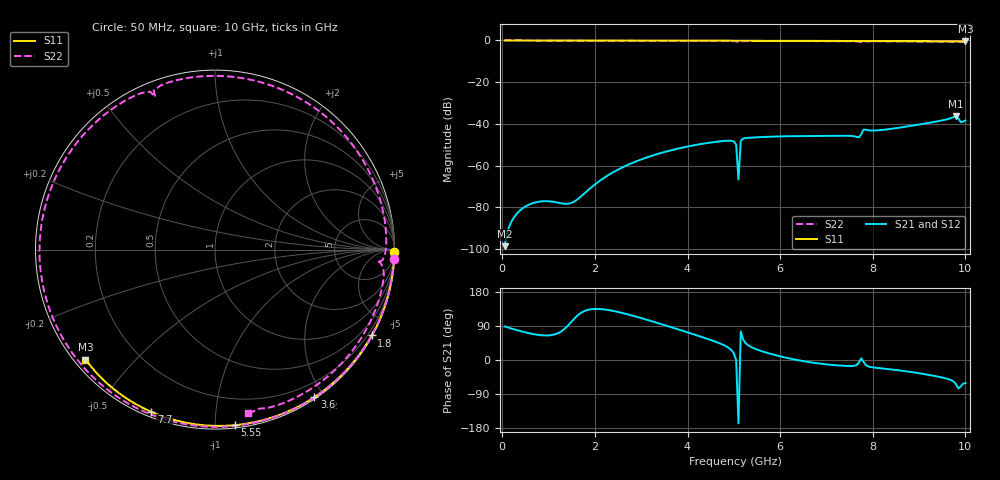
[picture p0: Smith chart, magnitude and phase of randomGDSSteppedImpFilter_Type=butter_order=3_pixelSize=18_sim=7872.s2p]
! freq	dB(S11)	phase(S11)	dB(S12)	phase(S12)
!  dB(S21)	phase(S21)	dB(S22)	phase(S22)
!S-par simulation data
#  GHz  S  DB  R 50
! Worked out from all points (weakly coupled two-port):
!   200 points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, 50 MHz to 10 GHz, reference 50 ohm
!   highest |S21| = -36.32 dB at 9.8 GHz (marker M1); lowest = -98.6 dB at 50 MHz (marker M2)
!   lowest |S11| = -0.5 dB at 10 GHz (marker M3), VSWR 37.15, Z = 1.53 - j18.3 ohm
!   |S11| at or under -10 dB: nowhere
!   |S22| runs from -0.9 to 0.0 dB; largest |S21 - S12| = 0
!   S11 on the Smith chart (normalised r, x): 50 MHz: open; 1.8 GHz: 0.03, -3.91; 3.6 GHz: 0.02, -1.88; 5.55 GHz: 0.02, -1.12; 7.7 GHz: 0.02, -0.68; 10 GHz: 0.03, -0.37
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0.05  -0.00 -0.8  -98.56 88.5  -98.56 88.5  -0.00 -2.9
0.95  -0.02 -15.3  -77.01 64.7  -77.01 64.7  -0.07 -53.1
1.45  -0.03 -23.2  -78.12 95.2  -78.12 95.2  -0.10 -79.6
1.75  -0.04 -27.9  -73.73 127.8  -73.73 127.8  -0.11 -94.8
1.8  -0.04 -28.7  -72.74 130.4  -72.74 130.4  -0.11 -97.3
2.65  -0.05 -41.8  -60.23 122.3  -60.23 122.3  -0.15 -138.0
3.4  -0.07 -53.1  -54.09 95.9  -54.09 95.9  -0.19 -172.1
3.6  -0.08 -56.1  -52.87 88.4  -52.87 88.4  -0.20 178.9
4.3  -0.09 -66.2  -49.58 61.1  -49.58 61.1  -0.23 147.6
4.9  -0.11 -74.7  -48.02 31.1  -48.02 31.1  -0.27 120.1
5.05  -0.12 -76.8  -49.92 -0.8  -49.92 -0.8  -0.43 112.3
5.1  -0.12 -77.4  -66.62 -167.3  -66.62 -167.3  -0.79 111.4
5.15  -0.12 -78.1  -48.10 75.3  -48.10 75.3  -0.45 111.1
5.55  -0.14 -83.6  -46.33 25.4  -46.33 25.4  -0.28 91.4
6.1  -0.16 -90.9  -45.92 6.8  -45.92 6.8  -0.30 66.2
6.7  -0.19 -98.8  -45.79 -7.0  -45.79 -7.0  -0.32 39.4
7.7  -0.26 -111.5  -46.46 -7.2  -46.46 -7.2  -0.58 -3.6
7.8  -0.26 -112.7  -42.73 -4.8  -42.73 -4.8  -0.73 -4.1
8.35  -0.31 -119.6  -42.49 -24.2  -42.49 -24.2  -0.42 -26.0
9.8  -0.46 -137.2  -36.32 -64.5  -36.32 -64.5  -0.69 -73.4
9.9  -0.45 -138.4  -39.14 -69.6  -39.14 -69.6  -0.69 -75.6
10  -0.47 -139.7  -38.41 -60.8  -38.41 -60.8  -0.65 -78.6
